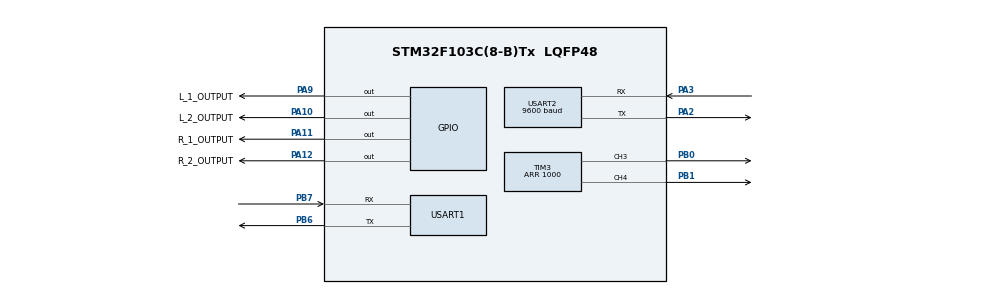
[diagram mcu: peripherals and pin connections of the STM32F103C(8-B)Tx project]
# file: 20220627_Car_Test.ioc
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Mcu.Family=STM32F1
Mcu.Name=STM32F103C(8-B)Tx
Mcu.Package=LQFP48
NVIC.PriorityGroup=NVIC_PRIORITYGROUP_4
NVIC.USART1_IRQn=true\:0\:0\:false\:false\:true\:true\:true\:true
PA10.GPIO_Label=L_2_OUTPUT
PA10.Signal=GPIO_Output
PA11.GPIO_Label=R_1_OUTPUT
PA11.Signal=GPIO_Output
PA12.GPIO_Label=R_2_OUTPUT
PA12.Signal=GPIO_Output
PA13.Mode=Serial_Wire
PA13.Signal=SYS_JTMS-SWDIO
PA14.Mode=Serial_Wire
PA14.Signal=SYS_JTCK-SWCLK
PA2.Mode=Asynchronous
PA2.Signal=USART2_TX
PA3.Mode=Asynchronous
PA3.Signal=USART2_RX
PA9.GPIO_Label=L_1_OUTPUT
PA9.Signal=GPIO_Output
PB0.Signal=S_TIM3_CH3
PB1.Signal=S_TIM3_CH4
PB6.Mode=Asynchronous
PB6.Signal=USART1_TX
PB7.Mode=Asynchronous
PB7.Signal=USART1_RX
PD0-OSC_IN.Mode=HSE-External-Oscillator
PD0-OSC_IN.Signal=RCC_OSC_IN
PD1-OSC_OUT.Mode=HSE-External-Oscillator
PD1-OSC_OUT.Signal=RCC_OSC_OUT
ProjectManager.HeapSize=0x200
ProjectManager.StackSize=0x400
ProjectManager.TargetToolchain=STM32CubeIDE
RCC.APB1CLKDivider=RCC_HCLK_DIV16
RCC.APB1Freq_Value=500000
RCC.APB1TimFreq_Value=1000000
RCC.APB2Freq_Value=8000000
RCC.SYSCLKSource=RCC_SYSCLKSOURCE_HSE
SH.S_TIM3_CH3.0=TIM3_CH3,PWM Generation3 CH3
SH.S_TIM3_CH4.0=TIM3_CH4,PWM Generation4 CH4
TIM3.AutoReloadPreload=TIM_AUTORELOAD_PRELOAD_ENABLE
TIM3.Channel-PWM\ Generation3\ CH3=TIM_CHANNEL_3
TIM3.Channel-PWM\ Generation4\ CH4=TIM_CHANNEL_4
TIM3.Period=1000
USART1.VirtualMode=VM_ASYNC
USART2.BaudRate=9600
USART2.VirtualMode=VM_ASYNC
VP_TIM3_VS_ClockSourceINT.Mode=Internal
board=custom

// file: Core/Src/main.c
/* USER CODE BEGIN Header */
/**
 ******************************************************************************
 * @file           : main.c
 * @brief          : Main program body
 ******************************************************************************
 * @attention
 *
 * Copyright (c) 2022 STMicroelectronics.
 * All rights reserved.
 *
 * This software is licensed under terms that can be found in the LICENSE file
 * in the root directory of this software component.
 * If no LICENSE file comes with this software, it is provided AS-IS.
 *
 ******************************************************************************
 */
/* USER CODE END Header */
#include "main.h"
#include "tim.h"
#include "usart.h"
#include "gpio.h"

/* USER CODE BEGIN PD */
void Left_Forward(void);
void Right_Forward(void);

void Left_Backward(void);
void Right_Backward(void);

void Left_Stop(void);
void Right_Stop(void);

void Forward(void);
void Backward(void);
void Stop(void);
void Left_Rot(void);
void Right_Rot(void);
void Forward_Left_Turn(void);
void Forward_Right_Turn(void);
void Backward_Left_Turn(void);
void Backward_Right_Turn(void);

void Speed_Up(void);
void Speed_Down(void);

void Fixed_Speed(void);

//void Left_Turn_Speed(void);
//void Right_Turn_Speed(void);
/* USER CODE END PD */

/* USER CODE BEGIN PM */
#define CAR_LENGTH 16
/* USER CODE END PM */

/* USER CODE BEGIN PV */
uint16_t Speed = 1000;		//Start with half speed
uint8_t CTRL = 0;			//Control signal through Bluetooth
uint8_t MSG[4] = {'\0'};
uint8_t distance = 0;

/* USER CODE END PV */

void SystemClock_Config(void);

/* USER CODE BEGIN 0 */
#if 0
void HAL_UART_RxCpltCallback(UART_HandleTypeDef *huart)
{

	//if(((CTRL == 'B' || CTRL == 'H'  || CTRL == 'J') && distance == 'B') || ((CTRL == 'F' || CTRL == 'I'  || CTRL == 'G') && distance == 'F'))
	if(distance == 'B' || distance == 'F')
	{
		Stop();
		//		CTRL = 'S';
		//HAL_Delay(2000);
	}
	//distance = 0;
}
#endif
/* USER CODE END 0 */

int main(void)
{

	/* MCU Configuration--------------------------------------------------------*/

	/* Reset of all peripherals, Initializes the Flash interface and the Systick. */
	HAL_Init();

	/* Configure the system clock */
	SystemClock_Config();

	/* Initialize all configured peripherals */
	MX_GPIO_Init();
	MX_TIM3_Init();
	MX_USART2_UART_Init();
	MX_USART1_UART_Init();
	/* USER CODE BEGIN 2 */
	HAL_TIM_PWM_Start(&htim3, TIM_CHANNEL_3);
	HAL_TIM_PWM_Start(&htim3, TIM_CHANNEL_4);
	//  HAL_UART_Receive_IT(&huart1, &distance, 1);
	/* USER CODE END 2 */

	/* Infinite loop */
	while (1)
	{

		/* USER CODE BEGIN 3 */

		CTRL = 0;

		HAL_UART_Receive(&huart2, &CTRL, 1, 0xFF);
		//#if 1
		HAL_UART_Receive(&huart1, &distance, 1, 0xFF);

		if(!(distance == 'T'))
		{
			Stop();
		}
		else
		{	//#endif
			switch (CTRL)
			{
			case 'S' :
				Stop();
				break;

			case 'F':
				Forward();
				break;

			case 'B':
				Backward();
				break;

			case 'L':
				Left_Rot();
				break;

			case 'R':
				Right_Rot();
				break;

			case 'G':
				Forward_Left_Turn();
				break;

			case 'I':
				Forward_Right_Turn();
				break;

			case 'H':
				Backward_Left_Turn();
				break;

			case 'J':
				Backward_Right_Turn();
				break;

			case 'U':
				Speed_Up();
				sprintf(MSG,"%d\n",Speed);
				HAL_UART_Transmit(&huart2, MSG, 4, HAL_MAX_DELAY);
				break;

			case 'D':
				Speed_Down();
				sprintf(MSG,"%d\n",Speed);
				HAL_UART_Transmit(&huart2, MSG, 4, HAL_MAX_DELAY);
				break;

			case '0':
				Stop();
				break;

			case '1':
				Speed = 100;
				break;

			case '2':
				Speed = 200;
				break;

			case '3':
				Speed = 300;
				break;

			case '4':
				Speed = 400;
				break;

			case '5':
				Speed = 500;
				break;

			case '6':
				Speed = 600;
				break;

			case '7':
				Speed = 700;
				break;

			case '8':
				Speed = 800;
				break;

			case '9':
				Speed = 900;
				break;

			case 'q':
				Speed = 1000;
				break;
			}
		}
	}
	/* USER CODE END 3 */
}

void SystemClock_Config(void)
{
	RCC_OscInitTypeDef RCC_OscInitStruct = {0};
	RCC_ClkInitTypeDef RCC_ClkInitStruct = {0};

	/** Initializes the RCC Oscillators according to the specified parameters
	 * in the RCC_OscInitTypeDef structure.
	 */
	RCC_OscInitStruct.OscillatorType = RCC_OSCILLATORTYPE_HSE;
	RCC_OscInitStruct.HSEState = RCC_HSE_ON;
	RCC_OscInitStruct.PLL.PLLState = RCC_PLL_NONE;
	if (HAL_RCC_OscConfig(&RCC_OscInitStruct) != HAL_OK)
	{
		Error_Handler();
	}

	/** Initializes the CPU, AHB and APB buses clocks
	 */
	RCC_ClkInitStruct.ClockType = RCC_CLOCKTYPE_HCLK|RCC_CLOCKTYPE_SYSCLK
			|RCC_CLOCKTYPE_PCLK1|RCC_CLOCKTYPE_PCLK2;
	RCC_ClkInitStruct.SYSCLKSource = RCC_SYSCLKSOURCE_HSE;
	RCC_ClkInitStruct.AHBCLKDivider = RCC_SYSCLK_DIV1;
	RCC_ClkInitStruct.APB1CLKDivider = RCC_HCLK_DIV16;
	RCC_ClkInitStruct.APB2CLKDivider = RCC_HCLK_DIV1;

	if (HAL_RCC_ClockConfig(&RCC_ClkInitStruct, FLASH_LATENCY_0) != HAL_OK)
	{
		Error_Handler();
	}
}

/* USER CODE BEGIN 4 */
void Left_Forward(void)
{
	L1_State(GPIO_PIN_RESET);
	L2_State(GPIO_PIN_SET);
}
void Right_Forward(void)
{
	R1_State(GPIO_PIN_RESET);
	R2_State(GPIO_PIN_SET);
}

void Left_Backward(void)
{
	L1_State(GPIO_PIN_SET);
	L2_State(GPIO_PIN_RESET);
}
void Right_Backward(void)
{
	R1_State(GPIO_PIN_SET);
	R2_State(GPIO_PIN_RESET);
}

void Left_Stop(void)
{
	L1_State(GPIO_PIN_RESET);
	L2_State(GPIO_PIN_RESET);
}
void Right_Stop(void)
{
	R1_State(GPIO_PIN_RESET);
	R2_State(GPIO_PIN_RESET);
}

void Forward(void)
{
	Fixed_Speed();
	Left_Forward();
	Right_Forward();
}
void Backward(void)
{
	Fixed_Speed();
	Left_Backward();
	Right_Backward();
}
void Stop(void)
{
	Left_Stop();
	Right_Stop();
}
void Left_Rot(void)
{
	Fixed_Speed();
	Left_Backward();
	Right_Forward();
}
void Right_Rot(void)
{
	Fixed_Speed();
	Left_Forward();
	Right_Backward();
}
void Forward_Left_Turn(void)
{
	Fixed_Speed();
	Left_Stop();
	Right_Forward();
}
void Forward_Right_Turn(void)
{
	Fixed_Speed();
	Right_Stop();
	Left_Forward();
}
void Backward_Left_Turn(void)
{
	Fixed_Speed();
	Left_Stop();
	Right_Backward();
}
void Backward_Right_Turn(void)
{
	Fixed_Speed();
	Right_Stop();
	Left_Backward();
}

void Speed_Up(void)
{
	if (Speed >= 1000)
	{
		Speed = 1000;
	}
	else
	{
		Speed += 100;
	}
	Fixed_Speed();
}
void Speed_Down(void)
{
	if (Speed <= 100)
	{
		Speed = 100;
	}
	else
	{
		Speed -= 100;
	}
	Fixed_Speed();
}
void Fixed_Speed(void)
{
	TIM3->CCR3 = Speed;
	TIM3->CCR4 = Speed;
}
//void Left_Turn_Speed(void)
//{
//	if (Speed >= 1000)
//	{
//		TIM3->CCR4 = Speed - 600;
//	}
//	else
//	{
//		TIM3->CCR3 = Speed + 600;
//	}
//}
//void Right_Turn_Speed(void)
//{
//	if (Speed >= 1000)
//	{
//		TIM3->CCR3 = Speed - 600;
//	}
//	else
//	{
//		TIM3->CCR4 = Speed + 600;
//	}
//}
/* USER CODE END 4 */

void Error_Handler(void)
{
	__disable_irq();
	while (1)
	{
	}
}
